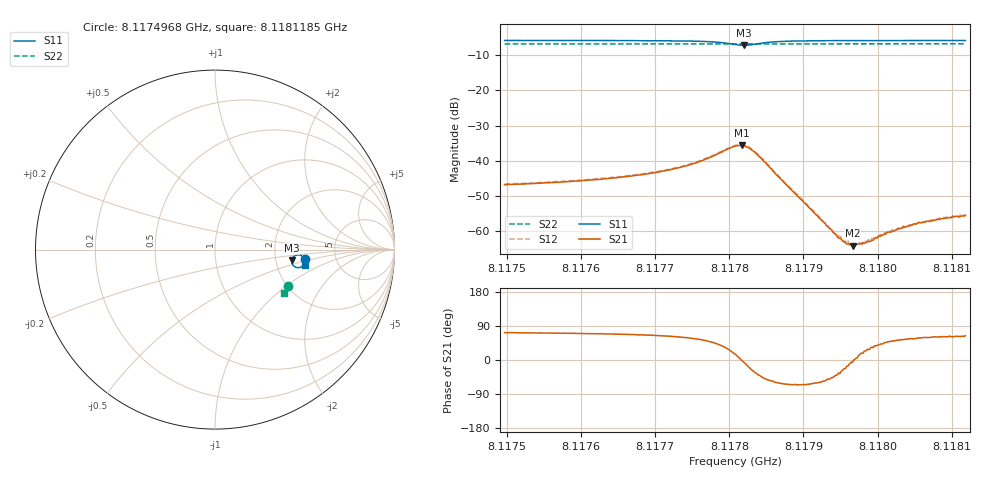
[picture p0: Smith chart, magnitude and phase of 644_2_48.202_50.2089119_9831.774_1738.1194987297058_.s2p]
#  HZ  S  RI  R  50.00
! Rohde & Schwarz Vector Network Analyzer
! Rohde-Schwarz,ZNB20-2Port,1311601062101988,3.16
! Created: UTC 3/20/2024, 12:04:56 PM
! freq[Hz]  re:S11  im:S11  re:S21  im:S21  re:S12  im:S12  re:S22  im:S22
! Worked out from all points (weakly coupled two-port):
!   401 points, 8.1174968 GHz to 8.1181185 GHz, reference 50 ohm
!   highest |S21| = -35.63 dB at 8.117817 GHz (marker M1); lowest = -64.1 dB at 8.1179662 GHz (marker M2)
!   lowest |S11| = -7.3 dB at 8.1178201 GHz (marker M3), VSWR 2.52, Z = 123 - j18 ohm
!   |S11| at or under -10 dB: nowhere
!   |S22| runs from -6.9 to -6.9 dB; largest |S21 - S12| = 0.00057
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8.11749678e9  0.504 -0.0543  0.00139 0.00437  0.00142 0.00445  0.4055 -0.2011
8.11760092e9  0.5019 -0.065  0.00182 0.00491  0.00185 0.00502  0.4024 -0.2078
8.11765221e9  0.5 -0.0715  0.0022 0.00541  0.00223 0.00554  0.4009 -0.2112
8.11770505e9  0.4964 -0.08  0.00304 0.00627  0.00309 0.0064  0.399 -0.2147
8.11775479e9  0.4865 -0.0923  0.00527 0.00763  0.00546 0.00791  0.397 -0.218
8.11780763e9  0.4354 -0.0876  0.0155 0.00442  0.016 0.0045  0.3933 -0.2204
8.11781696e9  0.4275 -0.0674  0.0165 -0.000309  0.0169 -0.000392  0.3929 -0.2199
8.11782006e9  0.4279 -0.0594  0.0163 -0.00204  0.0165 -0.00198  0.3929 -0.2199
8.11782939e9  0.4384 -0.0393  0.0131 -0.00603  0.0135 -0.00621  0.3933 -0.2196
8.11783871e9  0.4554 -0.0302  0.0093 -0.00751  0.00971 -0.00774  0.3939 -0.22
8.11786514e9  0.4862 -0.0375  0.00306 -0.0053  0.00312 -0.00546  0.3943 -0.2223
8.11791176e9  0.4984 -0.0561  0.000918 -0.00174  0.000904 -0.0018  0.3932 -0.2259
8.11794285e9  0.5 -0.0635  0.000697 -0.000612  0.000661 -0.000593  0.3923 -0.2282
8.11794906e9  0.5001 -0.0648  0.000645 -0.00047  0.000698 -0.000486  0.3919 -0.2285
8.11795528e9  0.5002 -0.0659  0.000651 -0.00028  0.000663 -0.000259  0.3918 -0.229
8.11796616e9  0.5002 -0.068  0.000623 -6.95e-05  0.000653 -5.86e-05  0.3915 -0.2296
8.11797082e9  0.5003 -0.0687  0.000649 5e-05  0.000642 1.83e-05  0.3913 -0.2299
8.11799103e9  0.5005 -0.0717  0.00061 0.000396  0.000673 0.000366  0.3906 -0.2312
8.1180159e9  0.5003 -0.0751  0.000642 0.000736  0.00067 0.000736  0.3898 -0.2328
8.11805786e9  0.4999 -0.0799  0.000692 0.00113  0.000738 0.00115  0.3883 -0.2354
8.11808584e9  0.4996 -0.083  0.000707 0.00133  0.000759 0.00137  0.3874 -0.2373
8.11811848e9  0.4992 -0.0863  0.000739 0.00152  0.000807 0.00149  0.3862 -0.2394
